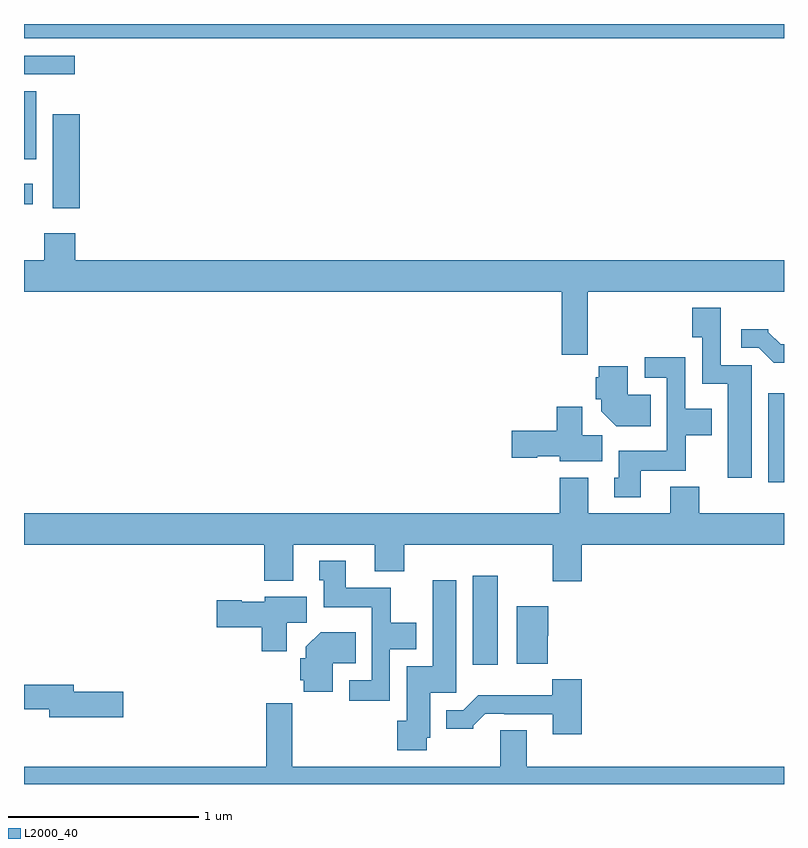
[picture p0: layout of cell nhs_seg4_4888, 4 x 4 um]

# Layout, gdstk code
import gdstk
lib = gdstk.Library(unit=1e-6, precision=1e-09)
def R(c, l, rs):  # rectangles x0, y0, x1, y1
    for r in rs: c.add(gdstk.rectangle(r[:2], r[2:], *l))
def P(c, l, *ps):  # polygons
    for p in ps: c.add(gdstk.Polygon(p, *l))
L2000_40 = (2000, 40)

nhs_seg4_4888 = lib.new_cell('nhs_seg4_4888')
R(nhs_seg4_4888, L2000_40, [(377.363,789.528,377.494,789.997), (378.917,790.488,379,790.957), (375.152,791.931,375.293,792.424), (375,791.952,375.046,792.06), (375,792.188,375.064,792.547), (375,792.636,375.268,792.732), (375,792.824,379,792.9)])
P(nhs_seg4_4888, L2000_40, [(377.966,791.492),(379,791.492),(379,791.656),(375.271,791.656),(375.271,791.8),(375.107,791.8),(375.107,791.656),(375,791.656),(375,791.492),(377.83,791.492),(377.83,791.16),(377.966,791.16)],
  [(378.829,791.103),(378.666,791.103),(378.666,791.407),(378.518,791.407),(378.518,791.251),(378.57,791.251),(378.57,791.006),(378.704,791.006),(378.704,790.512),(378.829,790.512)],
  [(379,791.214),(378.982,791.214),(378.918,791.278),(378.918,791.293),(378.774,791.293),(378.774,791.196),(378.867,791.196),(378.946,791.118),(379,791.118)],
  [(378.247,790.55),(378.483,790.55),(378.483,790.736),(378.619,790.736),(378.619,790.876),(378.48,790.876),(378.48,791.146),(378.267,791.146),(378.267,791.037),(378.384,791.037),(378.384,790.654),(378.131,790.654),(378.131,790.512),(378.107,790.512),(378.107,790.41),(378.247,790.41)],
  [(378.299,790.948),(378.178,790.948),(378.178,791.098),(378.026,791.098),(378.026,791.04),(378.008,791.04),(378.008,790.926),(378.038,790.926),(378.038,790.862),(378.116,790.784),(378.299,790.784)],
  [(378.043,790.736),(377.938,790.736),(377.938,790.885),(377.804,790.885),(377.804,790.76),(377.568,790.76),(377.568,790.618),(377.7,790.618),(377.7,790.625),(377.82,790.625),(377.82,790.598),(378.043,790.598)],
  [(375,790.16),(376.265,790.16),(376.265,789.971),(376.417,789.971),(376.417,790.16),(376.847,790.16),(376.847,790.019),(377,790.019),(377,790.16),(377.783,790.16),(377.783,789.966),(377.936,789.966),(377.936,790.16),(379,790.16),(379,790.324),(378.554,790.324),(378.554,790.465),(378.401,790.465),(378.401,790.324),(377.971,790.324),(377.971,790.513),(377.819,790.513),(377.819,790.324),(375,790.324)],
  [(376.926,789.608),(377.065,789.608),(377.065,789.748),(376.929,789.748),(376.929,789.934),(376.693,789.934),(376.693,790.075),(376.553,790.075),(376.553,789.972),(376.577,789.972),(376.577,789.83),(376.83,789.83),(376.83,789.447),(376.713,789.447),(376.713,789.339),(376.926,789.339)],
  [(377.121,789.144),(377.137,789.144),(377.137,789.381),(377.275,789.381),(377.275,789.973),(377.15,789.973),(377.15,789.52),(377.015,789.52),(377.015,789.234),(376.964,789.234),(376.964,789.078),(377.121,789.078)],
  [(376.383,789.748),(376.489,789.748),(376.489,789.886),(376.266,789.886),(376.266,789.859),(376.146,789.859),(376.146,789.867),(376.014,789.867),(376.014,789.725),(376.25,789.725),(376.25,789.6),(376.383,789.6)],
  [(377.756,789.681),(377.758,789.681),(377.758,789.835),(377.594,789.835),(377.594,789.533),(377.756,789.533)],
  [(376.624,789.536),(376.745,789.536),(376.745,789.7),(376.562,789.7),(376.484,789.622),(376.484,789.561),(376.455,789.561),(376.455,789.447),(376.472,789.447),(376.472,789.386),(376.624,789.386)],
  [(377.936,789.451),(377.781,789.451),(377.781,789.367),(377.392,789.367),(377.313,789.288),(377.222,789.288),(377.222,789.191),(377.364,789.191),(377.364,789.206),(377.428,789.27),(377.527,789.27),(377.527,789.267),(377.783,789.267),(377.783,789.162),(377.936,789.162)],
  [(375.523,789.386),(375.262,789.386),(375.262,789.422),(375,789.422),(375,789.294),(375.134,789.294),(375.134,789.251),(375.523,789.251)],
  [(379,788.992),(377.647,788.992),(377.647,789.182),(377.507,789.182),(377.507,788.992),(376.412,788.992),(376.412,789.325),(376.276,789.325),(376.276,788.992),(375,788.992),(375,788.9),(379,788.9)])

lib.write_gds('nhs_seg4_4888.gds')
